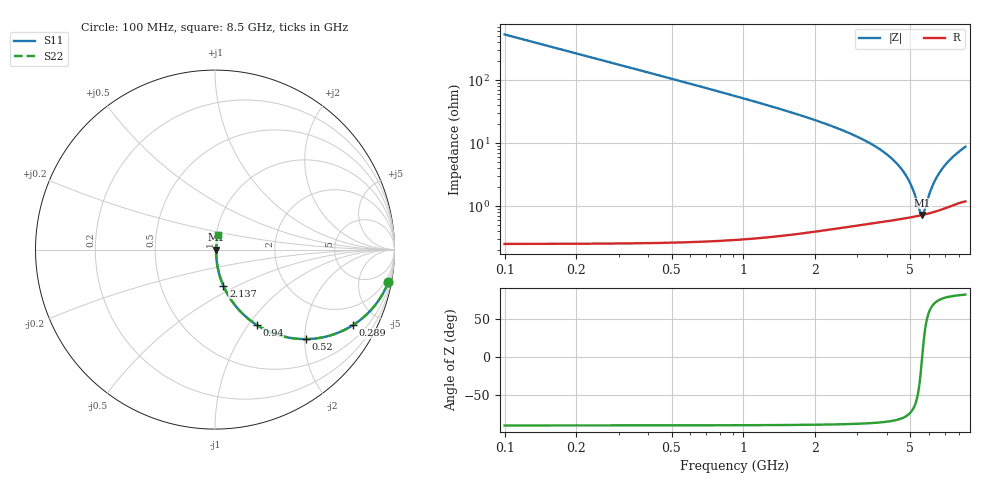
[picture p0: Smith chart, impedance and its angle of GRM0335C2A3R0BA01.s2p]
!Murata Part Number: GRM0335C2A3R0BA01
!These Parameters are Measured in Series Mode Connection
!Data Generated on Mar 30, 2021
!  o--ll--o
!Port1  Port2
!  o------o
!Operation Temp=25[degC], DC Bias Voltage=0[V]
!Freq. Start=100[MHz] Stop=9[GHz] 401[Steps]
# Hz S RI R 50
!Freq.(Hz) S11(Real) S11(Imag) S21(Real) S21(Imag) S12(Real) S12(Imag) S22(Real) S22(Imag)
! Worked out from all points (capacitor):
!   401 points, 100 MHz to 8.5 GHz, reference 50 ohm
!   read as one part in series: C = 3 pF near 142 MHz
!   lowest |Z| = 721 mohm at 5.602 GHz (marker M1)
!   series resonance near 5.603 GHz, so ESL is about 270 pH
!   S11 on the Smith chart (normalised r, x): 100 MHz: 1, -11; 289 MHz: 1.01, -3.66; 520 MHz: 1.01, -2.02; 940 MHz: 1.01, -1.10; 2.137 GHz: 1.01, -0.42; 8.5 GHz: 1.02, +0.17
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1e8  0.9656 -0.1821  0.0344 0.1821  0.0344 0.1821  0.9656 -0.1821
2.05e8  0.8695 -0.3363  0.1305 0.3363  0.1305 0.3363  0.8695 -0.3363
2.89e8  0.7699 -0.4202  0.2301 0.4202  0.2301 0.4202  0.7699 -0.4202
3.94e8  0.6419 -0.4785  0.3581 0.4785  0.3581 0.4785  0.6419 -0.4785
5.2e8  0.5055 -0.4987  0.4945 0.4987  0.4945 0.4987  0.5055 -0.4987
7.09e8  0.3518 -0.4757  0.6482 0.4757  0.6482 0.4757  0.3518 -0.4757
9.4e8  0.2322 -0.4196  0.7678 0.4196  0.7678 0.4196  0.2322 -0.4196
1.507e9  0.0986 -0.2929  0.9014 0.2929  0.9014 0.2929  0.0986 -0.2929
2.137e9  0.0465 -0.2011  0.9535 0.2011  0.9535 0.2011  0.0465 -0.2011
2.914e9  0.0219 -0.1292  0.9781 0.1292  0.9781 0.1292  0.0219 -0.1292
4.3e9  0.00852 -0.0503  0.9915 0.0503  0.9915 0.0503  0.00852 -0.0503
4.657e9  0.0075 -0.0351  0.9925 0.0351  0.9925 0.0351  0.0075 -0.0351
4.951e9  0.00708 -0.0234  0.9929 0.0234  0.9929 0.0234  0.00708 -0.0234
5.182e9  0.00696 -0.0148  0.993 0.0148  0.993 0.0148  0.00696 -0.0148
5.497e9  0.00706 -0.00362  0.9929 0.00362  0.9929 0.00362  0.00706 -0.00362
5.602e9  0.00716 -2.58e-05  0.9928 2.58e-05  0.9928 2.58e-05  0.00716 -2.58e-05
5.707e9  0.00729 0.00351  0.9927 -0.00351  0.9927 -0.00351  0.00729 0.00351
6.022e9  0.00784 0.0138  0.9922 -0.0138  0.9922 -0.0138  0.00784 0.0138
6.295e9  0.00852 0.0224  0.9915 -0.0224  0.9915 -0.0224  0.00852 0.0224
6.652e9  0.00967 0.0332  0.9903 -0.0332  0.9903 -0.0332  0.00967 0.0332
7.114e9  0.0116 0.0465  0.9884 -0.0465  0.9884 -0.0465  0.0116 0.0465
8.5e9  0.0189 0.0841  0.9811 -0.0841  0.9811 -0.0841  0.0189 0.0841
